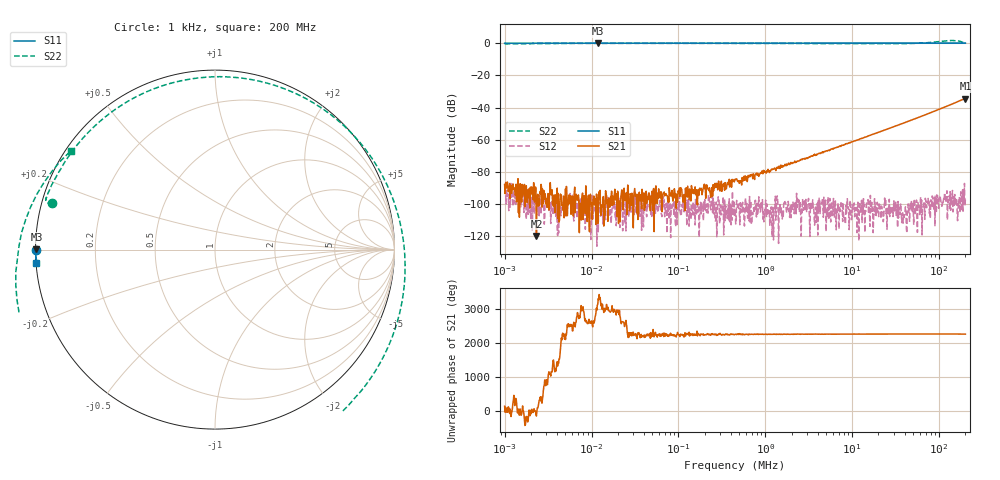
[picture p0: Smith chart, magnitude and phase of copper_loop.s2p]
! ListType=Log
# MHZ S RI R 50
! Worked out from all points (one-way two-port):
!   1000 points, 1 kHz to 200 MHz, reference 50 ohm
!   highest |S21| = -34.48 dB at 200 MHz (marker M1); lowest = -119.6 dB at 2.324 kHz (marker M2)
!   lowest |S11| = 0.0 dB at 11.95 kHz (marker M3), VSWR 370.29, Z = 0.135 + j0.0395 ohm
!   |S11| at or under -10 dB: nowhere
!   |S22| runs from -0.5 to 1.7 dB; largest |S21 - S12| = 0.019
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0.001  -0.9962 -0.000255  -2.38e-05 3.29e-05  -1.15e-05 -2.99e-05  -0.9089 0.26
0.0023235  -0.9965 -0.000262  -1e-06 -3e-07  -6.1e-06 -2e-07  -0.9294 0.2595
0.0076941  -0.9968 -0.000176  7.3e-06 1.14e-05  -2.1e-06 8.4e-06  -0.9422 0.2759
0.011945  -0.9946 0.00157  4.9e-06 6.1e-06  -1.2e-06 6e-07  -0.9435 0.2782
0.0584804  -0.9968 -6.65e-05  7.8e-06 1.3e-05  1.1e-06 -7.5e-06  -0.9406 0.2882
0.4499541  -0.9968 -0.000197  1e-05 5.71e-05  1.8e-06 7.1e-06  -0.9349 0.303
1.058307  -0.9969 -0.000505  2.27e-05 9.79e-05  -1.3e-06 4.9e-06  -0.9259 0.3237
3.419952  -0.997 -0.00133  1.32e-05 0.000312  -1.8e-06 -7.2e-06  -0.8867 0.4028
12.03851  -0.9974 -0.00467  2.62e-05 0.00104  -7.5e-06 -3e-07  -0.7122 0.6466
26.31347  -0.9977 -0.00965  2.47e-05 0.00223  3.6e-06 -3.5e-06  -0.3118 0.9064
38.43037  -0.998 -0.0138  3e-07 0.00327  1.2e-06 -2.3e-06  0.0882 0.9611
50.9003  -0.9983 -0.018  -5.46e-05 0.00435  -1e-07 -2.3e-06  0.4925 0.8486
64.99008  -0.9986 -0.0228  -0.000122 0.0056  6e-06 -3.9e-06  0.8567 0.5339
81.97236  -0.999 -0.0283  -0.000188 0.00716  5.3e-06 -7.1e-06  1.057 -0.0223
92.62555  -0.999 -0.0317  -0.000236 0.00816  -3.4e-06 -4.1e-06  1.016 -0.4025
103.3922  -0.9987 -0.0351  -0.000246 0.00919  -9.6e-06 -1.12e-05  0.8402 -0.7545
116.8291  -0.9986 -0.0393  -0.000259 0.0105  1.25e-05 -4.9e-06  0.4616 -1.075
128.8255  -0.9979 -0.0431  -0.000234 0.0117  -1.25e-05 -1.01e-05  0.0311 -1.195
145.5678  -0.9971 -0.0487  -0.00017 0.0134  5.8e-06 -1.22e-05  -0.5687 -1.06
164.4859  -0.9941 -0.0573  -2.96e-05 0.0154  4.6e-06 -3.3e-06  -1.028 -0.5582
179.1732  -0.9945 -0.0657  0.000421 0.0172  -1.87e-05 -8.8e-06  -1.102 -0.0581
200  -0.9971 -0.0768  0.0012 0.0188  -1.29e-05 -6.6e-06  -0.8026 0.5506
